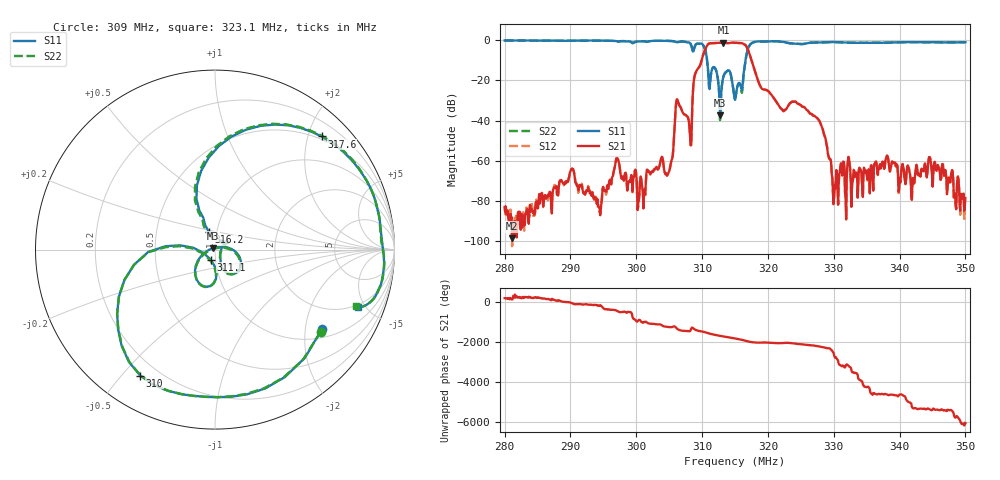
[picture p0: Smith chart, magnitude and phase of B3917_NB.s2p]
! Matrix data file written by TouchstoneData, EPCOS AG
! FILENAME: "B3917.NB.s2p"
! COMMENT: "1 Sep 2011 S11-NoP:801;Caltype:;"
! INFO: nport=2, nfreq=801
! DATE: "Thu Sep 29 10:33:34 2011"
! USER: "WeiLong Lin"
! port | pin | signal
!  1  |  2  |  In
!  2  |  5  |  Out
# MHZ S MA R 50
! freq  magS11 angS11  magS21 angS21  magS12 angS12  magS22 angS22
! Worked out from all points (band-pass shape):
!   801 points, 280 MHz to 350 MHz, reference 50 ohm
!   highest |S21| = -1.13 dB at 313.2 MHz (marker M1); lowest = -98.7 dB at 281.1 MHz (marker M2)
!   |S21| within 3 dB of the highest: 310.5 MHz to 316.9 MHz (6.369 MHz wide, 2.03 % of centre)
!   lowest |S11| = -37.4 dB at 312.7 MHz (marker M3), VSWR 1.03, Z = 49 + j0.919 ohm
!   |S11| at or under -10 dB: 310.8 MHz to 316.6 MHz (5.836 MHz wide, 1.86 % of centre)
!   |S22| runs from -39.8 to -0.1 dB; largest |S21 - S12| = 0.004
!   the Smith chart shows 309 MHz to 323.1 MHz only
!   S11 on the Smith chart (normalised r, x): 309 MHz: 1.25, -2.46; 310 MHz: 0.13, -0.56; 311.1 MHz: 0.95, -0.11; 316.2 MHz: 0.92, +0.18; 317.6 MHz: 0.44, +2.24; 323.1 MHz: 1.81, -4.45
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280  0.9886 -48.4  7.1e-05 176.6  7.086e-05 -177.1  0.9873 -48.2
281.1375  0.9891 -49.0  1.159e-05 110.8  7.466e-06 97.4  0.9886 -48.8
290.2375  0.9755 -54.4  0.0006368 -72.1  0.0006242 -73.0  0.9723 -54.0
291.725  0.9847 -55.5  0.0002471 -133.6  0.0002675 -141.4  0.9844 -55.3
303.3625  0.9713 -74.4  0.0006249 -45.0  0.0006177 -45.5  0.9709 -74.0
305.025  0.9636 -84.0  0.0005612 176.0  0.0005557 176.9  0.9655 -83.7
306.3375  0.8983 -93.1  0.03032 63.3  0.03014 64.2  0.9054 -92.1
308.0875  0.8718 -143.8  0.006659 -27.3  0.006641 -26.8  0.879 -143.2
308.9625  0.7422 -36.6  0.1478 47.3  0.1466 48.1  0.7465 -37.9
310.0125  0.8162 -120.7  0.3558 -35.8  0.3532 -35.4  0.8162 -120.3
311.15  0.06089 -112.8  0.8377 -146.0  0.8373 -145.8  0.06507 -113.5
312.725  0.01345 135.8  0.8698 104.3  0.8694 104.5  0.01028 155.9
313.25  0.1253 -9.6  0.878 72.6  0.8777 72.8  0.1258 -12.9
315  0.03264 -14.9  0.8677 -26.1  0.8675 -25.9  0.03505 -11.8
316.225  0.1032 109.2  0.826 -107.1  0.8255 -106.9  0.09578 113.7
317.625  0.8661 46.7  0.2735 148.2  0.2726 148.7  0.8665 47.5
323.1375  0.8592 -22.0  0.02397 117.1  0.02376 117.6  0.8468 -21.7
326.725  0.8741 -22.0  0.01436 -10.2  0.01429 -9.7  0.8773 -22.3
330.3125  0.8998 -29.4  0.0003163 124.4  0.0003051 127.0  0.9001 -29.3
338.3625  0.8754 -33.0  0.0008189 36.1  0.0008125 35.7  0.8775 -33.0
345.625  0.8896 -36.8  0.0005675 39.7  0.000567 36.7  0.8884 -36.6
350  0.8937 -37.2  0.0001178 83.8  9.53e-05 75.1  0.8941 -37.3
